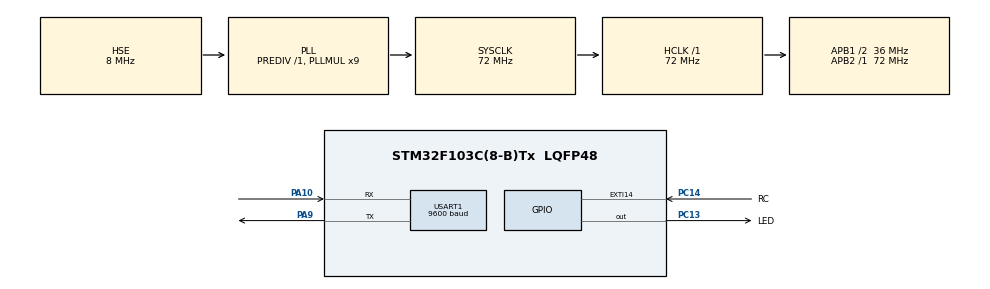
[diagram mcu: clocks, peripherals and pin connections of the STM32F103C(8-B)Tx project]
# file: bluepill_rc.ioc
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Dma.Request0=USART1_RX
Dma.Request1=USART1_TX
Dma.USART1_RX.0.Direction=DMA_PERIPH_TO_MEMORY
Dma.USART1_RX.0.Instance=DMA1_Channel5
Dma.USART1_RX.0.MemDataAlignment=DMA_MDATAALIGN_BYTE
Dma.USART1_RX.0.MemInc=DMA_MINC_ENABLE
Dma.USART1_RX.0.Mode=DMA_NORMAL
Dma.USART1_RX.0.PeriphDataAlignment=DMA_PDATAALIGN_BYTE
Dma.USART1_RX.0.PeriphInc=DMA_PINC_DISABLE
Dma.USART1_RX.0.Priority=DMA_PRIORITY_LOW
Dma.USART1_TX.1.Direction=DMA_MEMORY_TO_PERIPH
Dma.USART1_TX.1.Instance=DMA1_Channel4
Dma.USART1_TX.1.MemDataAlignment=DMA_MDATAALIGN_BYTE
Dma.USART1_TX.1.MemInc=DMA_MINC_ENABLE
Dma.USART1_TX.1.Mode=DMA_NORMAL
Dma.USART1_TX.1.PeriphDataAlignment=DMA_PDATAALIGN_BYTE
Dma.USART1_TX.1.PeriphInc=DMA_PINC_DISABLE
Dma.USART1_TX.1.Priority=DMA_PRIORITY_LOW
Mcu.Family=STM32F1
Mcu.Name=STM32F103C(8-B)Tx
Mcu.Package=LQFP48
NVIC.DMA1_Channel4_IRQn=true\:0\:0\:false\:false\:true\:false\:true\:true
NVIC.DMA1_Channel5_IRQn=true\:0\:0\:false\:false\:true\:false\:true\:true
NVIC.EXTI15_10_IRQn=true\:0\:0\:false\:false\:true\:true\:true\:true
NVIC.PriorityGroup=NVIC_PRIORITYGROUP_4
NVIC.USART1_IRQn=true\:0\:0\:false\:false\:true\:true\:true\:true
PA10.Mode=Asynchronous
PA10.Signal=USART1_RX
PA13.Mode=Serial_Wire
PA13.Signal=SYS_JTMS-SWDIO
PA14.Mode=Serial_Wire
PA14.Signal=SYS_JTCK-SWCLK
PA9.Mode=Asynchronous
PA9.Signal=USART1_TX
PC13-TAMPER-RTC.GPIO_Label=LED
PC13-TAMPER-RTC.Signal=GPIO_Output
PC14-OSC32_IN.GPIO_Label=RC
PC14-OSC32_IN.GPIO_ModeDefaultEXTI=GPIO_MODE_IT_RISING
PC14-OSC32_IN.Signal=GPXTI14
PD0-OSC_IN.Mode=HSE-External-Oscillator
PD0-OSC_IN.Signal=RCC_OSC_IN
PD1-OSC_OUT.Mode=HSE-External-Oscillator
PD1-OSC_OUT.Signal=RCC_OSC_OUT
ProjectManager.HeapSize=0x200
ProjectManager.StackSize=0x400
ProjectManager.TargetToolchain=STM32CubeIDE
RCC.AHBFreq_Value=72000000
RCC.APB1CLKDivider=RCC_HCLK_DIV2
RCC.APB1Freq_Value=36000000
RCC.APB1TimFreq_Value=72000000
RCC.APB2Freq_Value=72000000
RCC.APB2TimFreq_Value=72000000
RCC.HCLKFreq_Value=72000000
RCC.PLLMUL=RCC_PLL_MUL9
RCC.PLLSourceVirtual=RCC_PLLSOURCE_HSE
RCC.SYSCLKFreq_VALUE=72000000
RCC.SYSCLKSource=RCC_SYSCLKSOURCE_PLLCLK
RCC.USBFreq_Value=72000000
TIM2.Prescaler=72 -1
USART1.BaudRate=9600
USART1.VirtualMode=VM_ASYNC
VP_TIM2_VS_ClockSourceINT.Mode=Internal
board=custom

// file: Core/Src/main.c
/* USER CODE BEGIN Header */
/**
  ******************************************************************************
  * @file           : main.c
  * @brief          : Main program body
  ******************************************************************************
  * @attention
  *
  * Copyright (c) 2023 STMicroelectronics.
  * All rights reserved.
  *
  * This software is licensed under terms that can be found in the LICENSE file
  * in the root directory of this software component.
  * If no LICENSE file comes with this software, it is provided AS-IS.
  *
  ******************************************************************************
  */
/* USER CODE END Header */
#include "main.h"

/* USER CODE BEGIN PTD */
TIM_HandleTypeDef htim2;
int count = 0;
volatile long ch[8];
volatile long tick = 0;
volatile uint8_t pulse = 0;
void HAL_GPIO_EXTI_Callback(uint16_t GPIO_Pin){
	  	if(GPIO_Pin == RC_Pin){
	  		count++;
	  		HAL_GPIO_TogglePin(GPIOC, LED_Pin);
	  		tick = __HAL_TIM_GET_COUNTER(&htim2);
	  		__HAL_TIM_SET_COUNTER(&htim2,0);

	  		if(tick<2100){
	  			ch[pulse] = tick;
	  			pulse++;
	  		}

	  		else{
	  			__HAL_TIM_SET_COUNTER(&htim2,0);
	  			pulse = 0;

	  		}
	  	}
	  }

/* USER CODE END PTD */

TIM_HandleTypeDef htim2;

UART_HandleTypeDef huart1;
DMA_HandleTypeDef hdma_usart1_rx;
DMA_HandleTypeDef hdma_usart1_tx;

void SystemClock_Config(void);
static void MX_GPIO_Init(void);
static void MX_DMA_Init(void);
static void MX_TIM2_Init(void);
static void MX_USART1_UART_Init(void);

int main(void)
{

  /* MCU Configuration--------------------------------------------------------*/

  /* Reset of all peripherals, Initializes the Flash interface and the Systick. */
  HAL_Init();

  /* Configure the system clock */
  SystemClock_Config();

  /* Initialize all configured peripherals */
  MX_GPIO_Init();
  MX_DMA_Init();
  MX_TIM2_Init();
  MX_USART1_UART_Init();
  /* USER CODE BEGIN 2 */
//  HAL_TIM_Base_Start(&htim2);
//  GNSS_Init(&GNSS_Handle, &huart1);
//  HAL_Delay(1000);
//  GNSS_LoadConfig(&GNSS_Handle);
//  uint32_t Timer = HAL_GetTick();
  /* USER CODE END 2 */

  /* Infinite loop */
  /* USER CODE BEGIN WHILE */
  while (1)
  {
//	  if ((HAL_GetTick() - Timer) > 1000) {
//	  			GNSS_GetUniqID(&GNSS_Handle);
//	  			GNSS_ParseBuffer(&GNSS_Handle);
//	  			HAL_Delay(250);
//	  			GNSS_GetPVTData(&GNSS_Handle);
//	  			GNSS_ParseBuffer(&GNSS_Handle);
//	  			/*printf("Day: %d-%d-%d \r\n", GNSS_Handle.day, GNSS_Handle.month,GNSS_Handle.year);
//	  			printf("Time: %d:%d:%d \r\n", GNSS_Handle.hour, GNSS_Handle.min,GNSS_Handle.sec);
//	  			printf("Status of fix: %d \r\n", GNSS_Handle.fixType);
//	  			printf("Latitude: %f \r\n", GNSS_Handle.fLat);
//	  			printf("Longitude: %f \r\n",(float) GNSS_Handle.lon / 10000000.0);
//	  			printf("Height above ellipsoid: %d \r\n", GNSS_Handle.height);
//	  			printf("Height above mean sea level: %d \r\n", GNSS_Handle.hMSL);
//	  			printf("Ground Speed (2-D): %d \r\n", GNSS_Handle.gSpeed);
//	  			printf("Unique ID: %04X %04X %04X %04X %04X \n\r",
//	  					GNSS_Handle.uniqueID[0], GNSS_Handle.uniqueID[1],
//	  					GNSS_Handle.uniqueID[2], GNSS_Handle.uniqueID[3],
//	  					GNSS_Handle.uniqueID[4], GNSS_Handle.uniqueID[5]);*/
//	  			Timer = HAL_GetTick();

    /* USER CODE END WHILE */

  }
}

void SystemClock_Config(void)
{
  RCC_OscInitTypeDef RCC_OscInitStruct = {0};
  RCC_ClkInitTypeDef RCC_ClkInitStruct = {0};

  /** Initializes the RCC Oscillators according to the specified parameters
  * in the RCC_OscInitTypeDef structure.
  */
  RCC_OscInitStruct.OscillatorType = RCC_OSCILLATORTYPE_HSE;
  RCC_OscInitStruct.HSEState = RCC_HSE_ON;
  RCC_OscInitStruct.HSEPredivValue = RCC_HSE_PREDIV_DIV1;
  RCC_OscInitStruct.HSIState = RCC_HSI_ON;
  RCC_OscInitStruct.PLL.PLLState = RCC_PLL_ON;
  RCC_OscInitStruct.PLL.PLLSource = RCC_PLLSOURCE_HSE;
  RCC_OscInitStruct.PLL.PLLMUL = RCC_PLL_MUL9;
  if (HAL_RCC_OscConfig(&RCC_OscInitStruct) != HAL_OK)
  {
    Error_Handler();
  }

  /** Initializes the CPU, AHB and APB buses clocks
  */
  RCC_ClkInitStruct.ClockType = RCC_CLOCKTYPE_HCLK|RCC_CLOCKTYPE_SYSCLK
                              |RCC_CLOCKTYPE_PCLK1|RCC_CLOCKTYPE_PCLK2;
  RCC_ClkInitStruct.SYSCLKSource = RCC_SYSCLKSOURCE_PLLCLK;
  RCC_ClkInitStruct.AHBCLKDivider = RCC_SYSCLK_DIV1;
  RCC_ClkInitStruct.APB1CLKDivider = RCC_HCLK_DIV2;
  RCC_ClkInitStruct.APB2CLKDivider = RCC_HCLK_DIV1;

  if (HAL_RCC_ClockConfig(&RCC_ClkInitStruct, FLASH_LATENCY_2) != HAL_OK)
  {
    Error_Handler();
  }
}

static void MX_TIM2_Init(void)
{

  TIM_ClockConfigTypeDef sClockSourceConfig = {0};
  TIM_MasterConfigTypeDef sMasterConfig = {0};

  htim2.Instance = TIM2;
  htim2.Init.Prescaler = 72 -1;
  htim2.Init.CounterMode = TIM_COUNTERMODE_UP;
  htim2.Init.Period = 65535;
  htim2.Init.ClockDivision = TIM_CLOCKDIVISION_DIV1;
  htim2.Init.AutoReloadPreload = TIM_AUTORELOAD_PRELOAD_DISABLE;
  if (HAL_TIM_Base_Init(&htim2) != HAL_OK)
  {
    Error_Handler();
  }
  sClockSourceConfig.ClockSource = TIM_CLOCKSOURCE_INTERNAL;
  if (HAL_TIM_ConfigClockSource(&htim2, &sClockSourceConfig) != HAL_OK)
  {
    Error_Handler();
  }
  sMasterConfig.MasterOutputTrigger = TIM_TRGO_RESET;
  sMasterConfig.MasterSlaveMode = TIM_MASTERSLAVEMODE_DISABLE;
  if (HAL_TIMEx_MasterConfigSynchronization(&htim2, &sMasterConfig) != HAL_OK)
  {
    Error_Handler();
  }

}

static void MX_USART1_UART_Init(void)
{

  huart1.Instance = USART1;
  huart1.Init.BaudRate = 9600;
  huart1.Init.WordLength = UART_WORDLENGTH_8B;
  huart1.Init.StopBits = UART_STOPBITS_1;
  huart1.Init.Parity = UART_PARITY_NONE;
  huart1.Init.Mode = UART_MODE_TX_RX;
  huart1.Init.HwFlowCtl = UART_HWCONTROL_NONE;
  huart1.Init.OverSampling = UART_OVERSAMPLING_16;
  if (HAL_UART_Init(&huart1) != HAL_OK)
  {
    Error_Handler();
  }

}

static void MX_DMA_Init(void)
{

  /* DMA controller clock enable */
  __HAL_RCC_DMA1_CLK_ENABLE();

  /* DMA interrupt init */
  /* DMA1_Channel4_IRQn interrupt configuration */
  HAL_NVIC_SetPriority(DMA1_Channel4_IRQn, 0, 0);
  HAL_NVIC_EnableIRQ(DMA1_Channel4_IRQn);
  /* DMA1_Channel5_IRQn interrupt configuration */
  HAL_NVIC_SetPriority(DMA1_Channel5_IRQn, 0, 0);
  HAL_NVIC_EnableIRQ(DMA1_Channel5_IRQn);

}

static void MX_GPIO_Init(void)
{
  GPIO_InitTypeDef GPIO_InitStruct = {0};

  /* GPIO Ports Clock Enable */
  __HAL_RCC_GPIOC_CLK_ENABLE();
  __HAL_RCC_GPIOD_CLK_ENABLE();
  __HAL_RCC_GPIOA_CLK_ENABLE();

  /*Configure GPIO pin Output Level */
  HAL_GPIO_WritePin(LED_GPIO_Port, LED_Pin, GPIO_PIN_RESET);

  /*Configure GPIO pin : LED_Pin */
  GPIO_InitStruct.Pin = LED_Pin;
  GPIO_InitStruct.Mode = GPIO_MODE_OUTPUT_PP;
  GPIO_InitStruct.Pull = GPIO_NOPULL;
  GPIO_InitStruct.Speed = GPIO_SPEED_FREQ_LOW;
  HAL_GPIO_Init(LED_GPIO_Port, &GPIO_InitStruct);

  /*Configure GPIO pin : RC_Pin */
  GPIO_InitStruct.Pin = RC_Pin;
  GPIO_InitStruct.Mode = GPIO_MODE_IT_RISING;
  GPIO_InitStruct.Pull = GPIO_NOPULL;
  HAL_GPIO_Init(RC_GPIO_Port, &GPIO_InitStruct);

  /* EXTI interrupt init*/
  HAL_NVIC_SetPriority(EXTI15_10_IRQn, 0, 0);
  HAL_NVIC_EnableIRQ(EXTI15_10_IRQn);

}

void Error_Handler(void)
{
  __disable_irq();
  while (1)
  {
  }
}
